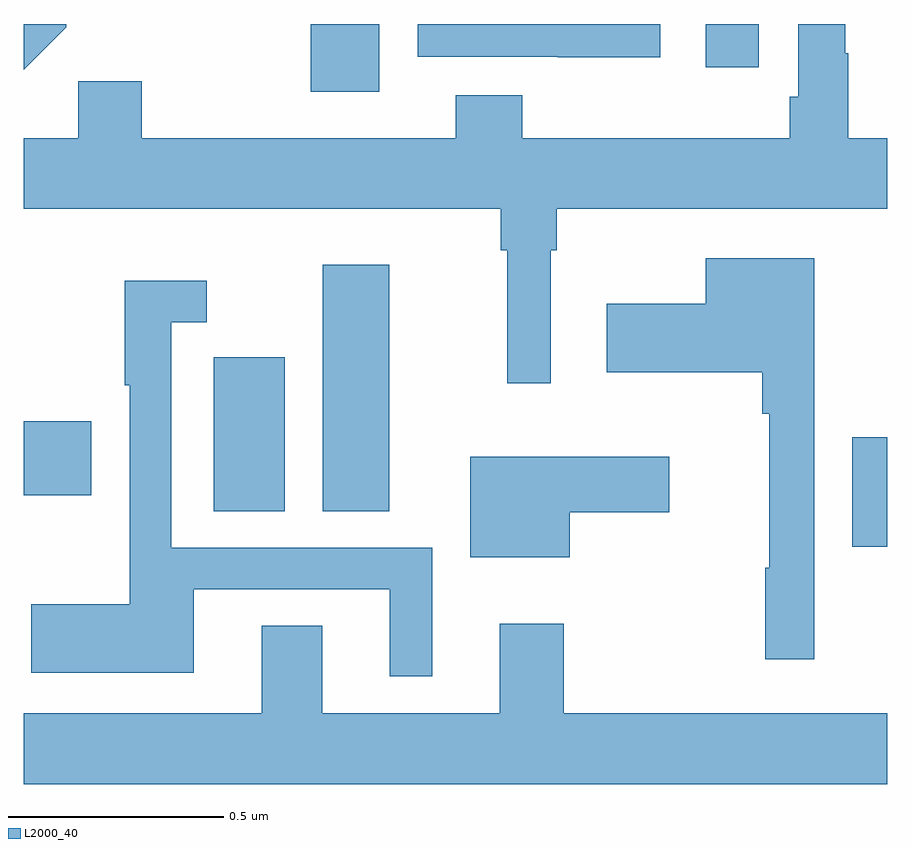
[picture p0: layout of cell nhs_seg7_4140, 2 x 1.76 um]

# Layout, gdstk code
import gdstk
lib = gdstk.Library(unit=1e-6, precision=1e-09)
def R(c, l, rs):  # rectangles x0, y0, x1, y1
    for r in rs: c.add(gdstk.rectangle(r[:2], r[2:], *l))
def P(c, l, *ps):  # polygons
    for p in ps: c.add(gdstk.Polygon(p, *l))
L2000_40 = (2000, 40)

nhs_seg7_4140 = lib.new_cell('nhs_seg7_4140')
R(nhs_seg7_4140, L2000_40, [(169.919,1043.789,170,1044.043), (168.44,1043.872,168.604,1044.228), (168.692,1043.872,168.847,1044.442), (168,1043.909,168.157,1044.08), (168.665,1044.843,168.823,1045), (169.58,1044.9,169.702,1045)])
P(nhs_seg7_4140, L2000_40, [(169.221,1044.476),(169.234,1044.476),(169.234,1044.572),(170,1044.572),(170,1044.736),(169.91,1044.736),(169.91,1044.932),(169.903,1044.932),(169.903,1045),(169.794,1045),(169.794,1044.832),(169.774,1044.832),(169.774,1044.736),(169.154,1044.736),(169.154,1044.835),(169.001,1044.835),(169.001,1044.736),(168.273,1044.736),(168.273,1044.868),(168.126,1044.868),(168.126,1044.736),(168,1044.736),(168,1044.572),(169.105,1044.572),(169.105,1044.476),(169.12,1044.476),(169.12,1044.168),(169.221,1044.168)],
  [(168.099,1044.993),(168.099,1045),(168,1045),(168,1044.894)],
  [(169.474,1045),(168.912,1045),(168.912,1044.924),(169.237,1044.924),(169.237,1044.923),(169.474,1044.923)],
  [(169.831,1044.457),(169.58,1044.457),(169.58,1044.352),(169.35,1044.352),(169.35,1044.194),(169.71,1044.194),(169.71,1044.098),(169.727,1044.098),(169.727,1043.741),(169.717,1043.741),(169.717,1043.529),(169.831,1043.529)],
  [(168.946,1043.787),(168.342,1043.787),(168.342,1044.309),(168.424,1044.309),(168.424,1044.406),(168.234,1044.406),(168.234,1044.163),(168.246,1044.163),(168.246,1043.656),(168.018,1043.656),(168.018,1043.498),(168.394,1043.498),(168.394,1043.691),(168.848,1043.691),(168.848,1043.49),(168.946,1043.49)],
  [(169.264,1043.869),(169.495,1043.869),(169.495,1043.998),(169.034,1043.998),(169.034,1043.765),(169.264,1043.765)],
  [(170,1043.404),(169.251,1043.404),(169.251,1043.611),(169.103,1043.611),(169.103,1043.404),(168.691,1043.404),(168.691,1043.606),(168.551,1043.606),(168.551,1043.404),(168,1043.404),(168,1043.24),(170,1043.24)])

lib.write_gds('nhs_seg7_4140.gds')
